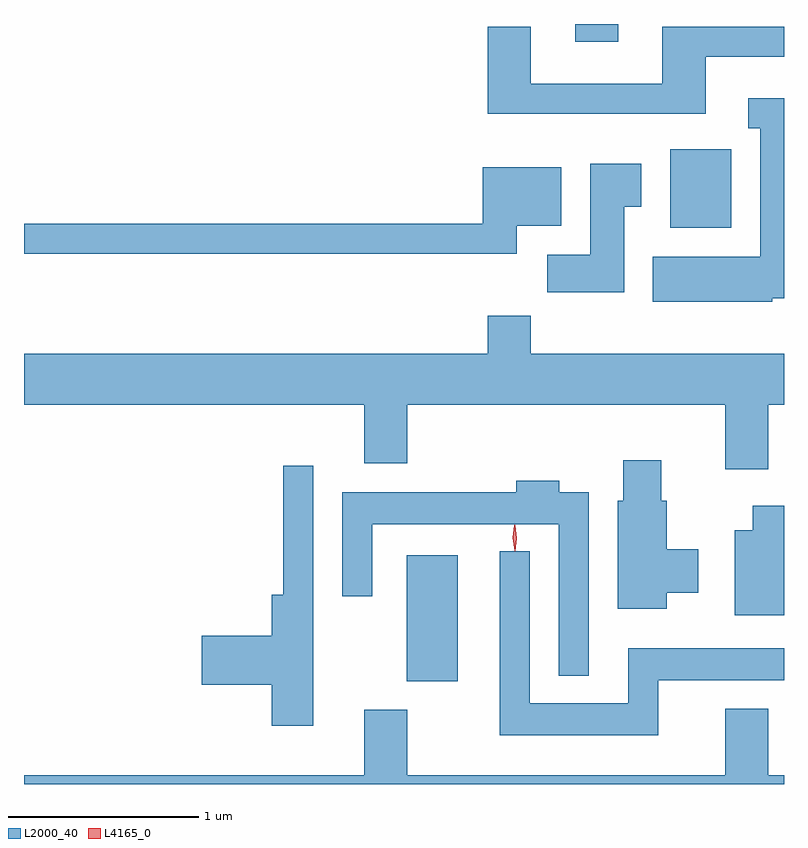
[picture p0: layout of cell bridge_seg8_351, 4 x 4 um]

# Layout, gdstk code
import gdstk
lib = gdstk.Library(unit=1e-6, precision=1e-09)
def R(c, l, rs):  # rectangles x0, y0, x1, y1
    for r in rs: c.add(gdstk.rectangle(r[:2], r[2:], *l))
def P(c, l, *ps):  # polygons
    for p in ps: c.add(gdstk.Polygon(p, *l))
L2000_40 = (2000, 40)
L4165_0 = (4165, 0)

bridge_seg8_351 = lib.new_cell('bridge_seg8_351')
R(bridge_seg8_351, L2000_40, [(726.236,1919.321,726.504,1919.984), (727.621,1921.706,727.944,1922.119), (727.121,1922.686,727.349,1922.779)])
P(bridge_seg8_351, L2000_40, [(727.809,1922.606),(728.221,1922.606),(728.221,1922.764),(727.581,1922.764),(727.581,1922.464),(726.889,1922.464),(726.889,1922.764),(726.661,1922.764),(726.661,1922.306),(727.809,1922.306)],
  [(728.159,1921.336),(728.221,1921.336),(728.221,1922.389),(728.033,1922.389),(728.033,1922.231),(728.096,1922.231),(728.096,1921.554),(727.531,1921.554),(727.531,1921.316),(728.159,1921.316)],
  [(727.379,1921.816),(727.469,1921.816),(727.469,1922.044),(727.201,1922.044),(727.201,1921.564),(726.976,1921.564),(726.976,1921.366),(727.379,1921.366)],
  [(726.814,1921.716),(727.049,1921.716),(727.049,1922.024),(726.636,1922.024),(726.636,1921.729),(724.221,1921.729),(724.221,1921.571),(726.814,1921.571)],
  [(728.139,1920.776),(728.221,1920.776),(728.221,1921.044),(726.889,1921.044),(726.889,1921.244),(726.661,1921.244),(726.661,1921.044),(724.221,1921.044),(724.221,1920.776),(726.011,1920.776),(726.011,1920.466),(726.239,1920.466),(726.239,1920.776),(727.911,1920.776),(727.911,1920.436),(728.139,1920.436)],
  [(727.604,1919.786),(727.769,1919.786),(727.769,1920.014),(727.604,1920.014),(727.604,1920.269),(727.574,1920.269),(727.574,1920.484),(727.376,1920.484),(727.376,1920.269),(727.346,1920.269),(727.346,1919.701),(727.604,1919.701)],
  [(725.744,1920.453),(725.586,1920.453),(725.586,1919.774),(725.526,1919.774),(725.526,1919.559),(725.156,1919.559),(725.156,1919.301),(725.526,1919.301),(725.526,1919.086),(725.744,1919.086)],
  [(727.194,1920.314),(727.039,1920.314),(727.039,1920.374),(726.811,1920.374),(726.811,1920.314),(725.896,1920.314),(725.896,1919.768),(726.054,1919.768),(726.054,1920.146),(727.036,1920.146),(727.036,1919.348),(727.194,1919.348)],
  [(728.221,1920.244),(728.056,1920.244),(728.056,1920.114),(727.961,1920.114),(727.961,1919.666),(728.221,1919.666)],
  [(727.559,1919.326),(728.221,1919.326),(728.221,1919.494),(727.401,1919.494),(727.401,1919.204),(726.884,1919.204),(726.884,1920.003),(726.726,1920.003),(726.726,1919.036),(727.559,1919.036)],
  [(726.011,1918.824),(724.221,1918.824),(724.221,1918.779),(728.221,1918.779),(728.221,1918.824),(728.139,1918.824),(728.139,1919.174),(727.911,1919.174),(727.911,1918.824),(726.239,1918.824),(726.239,1919.169),(726.011,1919.169)])
P(bridge_seg8_351, L4165_0, [(726.804,1920.004),(726.795,1920.073),(726.804,1920.142),(726.805,1920.143),(726.806,1920.142),(726.815,1920.073),(726.806,1920.004),(726.805,1920.004)],
  [(726.803,1920.007),(726.803,1920.007),(726.793,1920.074),(726.802,1920.14),(726.803,1920.14),(726.803,1920.14),(726.813,1920.074),(726.804,1920.007)])

lib.write_gds('bridge_seg8_351.gds')
